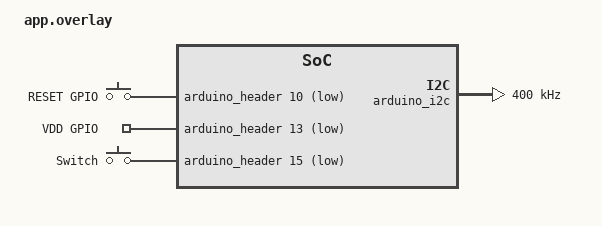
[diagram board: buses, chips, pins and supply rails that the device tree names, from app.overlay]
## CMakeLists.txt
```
#
# Copyright (c) 2024 Infineon Technologies AG
#
# SPDX-License-Identifier: MIT
#

cmake_minimum_required(VERSION 3.20.0)
find_package(Zephyr REQUIRED HINTS $ENV{ZEPHYR_BASE})
project(trust_m_app)

set(OPTIGA_PATH "${CMAKE_CURRENT_SOURCE_DIR}/../optiga-trust-m")
set(OPTIGA_PAL "zephyr")

add_subdirectory("external/optiga-trust-m")

target_sources(app PRIVATE "src/main.c")
```

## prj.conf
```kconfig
# Copyright (c) 2024 Infineon Technologies AG
# SPDX-License-Identifier: MIT

CONFIG_PRINTK=y
CONFIG_HEAP_MEM_POOL_SIZE=512
CONFIG_ASSERT=y
CONFIG_GPIO=y
CONFIG_GPIO_GET_DIRECTION=y
CONFIG_I2C=y
CONFIG_LOG=y
CONFIG_LOG_BACKEND_UART=y
CONFIG_LOG_BUFFER_SIZE=2048
CONFIG_DEBUG_OPTIMIZATIONS=y
CONFIG_FLASH=y
CONFIG_FLASH_PAGE_LAYOUT=y
CONFIG_MPU_ALLOW_FLASH_WRITE=y
```

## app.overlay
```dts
/*
 * Copyright (c) 2024 Infineon Technologies AG
 *
 * SPDX-License-Identifier: MIT
 */

/ {
	aliases {
		optiga-i2c = &arduino_i2c;
        optiga-reset = &reset_gpio;
        optiga-vdd = &vdd_gpio;
        sw1 = &switch;
	};

	optiga_gpios {
        compatible = "gpio-keys";
        reset_gpio: pin_reset {
            gpios = <&arduino_header 10 GPIO_ACTIVE_LOW>; /* D4 */
            label = "RESET GPIO";
        };
        vdd_gpio: pin_vdd {
            gpios = <&arduino_header 13 GPIO_ACTIVE_LOW>; /* D7 */
            label = "VDD GPIO";
        };
        switch: pin_switch {
            gpios = <&arduino_header 15 GPIO_ACTIVE_LOW>;  /* D9 */
            label = "Switch";
        };
    };
};

&arduino_i2c {
	clock-frequency = <I2C_BITRATE_FAST>;
};
```

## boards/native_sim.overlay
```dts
/*
 * Copyright (c) 2024 Infineon Technologies AG
 *
 * SPDX-License-Identifier: MIT
 */

 /*
  * Used as platform for building the application with Clang for static code analysis (e.g. clang-tidy)
  */
/ {
	aliases {
		optiga-i2c = &i2c0;
        optiga-reset = &reset_gpio;
        optiga-vdd = &vdd_gpio;
        sw1 = &switch;
	};

	optiga_gpios {
        compatible = "gpio-keys";
        reset_gpio: pin_reset {
            gpios = <&gpio0 15 GPIO_ACTIVE_LOW>;
            label = "RESET GPIO";
        };
        vdd_gpio: pin_vdd {
            gpios = <&gpio0 18 GPIO_ACTIVE_LOW>;
            label = "VDD GPIO";
        };
        switch: pin_switch {
            gpios = <&gpio0 1 GPIO_ACTIVE_LOW>;
            label = "Switch";
        };
    };
};
```

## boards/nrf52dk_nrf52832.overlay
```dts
/*
 * Copyright (c) 2024 Infineon Technologies AG
 *
 * SPDX-License-Identifier: MIT
 */

 /*
  * Given as example to demonstrate custom device tree overlays and assignment of board-specific GPIO.
  */
/ {
	aliases {
		optiga-i2c = &i2c0;
        optiga-reset = &reset_gpio;
        optiga-vdd = &vdd_gpio;
	};

	optiga_gpios {
        compatible = "gpio-keys";
        reset_gpio: pin_reset {
            gpios = <&gpio0 15 GPIO_ACTIVE_LOW>;
            label = "RESET GPIO";
        };
        vdd_gpio: pin_vdd {
            gpios = <&gpio0 18 GPIO_ACTIVE_LOW>;
            label = "VDD GPIO";
        };
    };
};

&i2c0 {
	clock-frequency = <I2C_BITRATE_FAST>;
};
```

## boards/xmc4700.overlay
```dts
/*
 * Copyright (c) 2024 Infineon Technologies AG
 *
 * SPDX-License-Identifier: MIT
 */

/ {
	aliases {
		optiga-i2c = &arduino_i2c;
        optiga-reset = &reset_gpio;
        optiga-vdd = &vdd_gpio;
        sw1 = &switch;
	};

	optiga_gpios {
        compatible = "gpio-keys";
        reset_gpio: pin_reset {
            gpios = <&arduino_header 10 GPIO_ACTIVE_LOW>; /* D4 */
            label = "RESET GPIO";
        };
        vdd_gpio: pin_vdd {
            gpios = <&arduino_header 13 GPIO_ACTIVE_LOW>; /* D7 */
            label = "VDD GPIO";
        };
        switch: pin_switch {
            gpios = <&arduino_header 15 GPIO_ACTIVE_LOW>;  /* D9 */
            label = "Switch";
        };
    };
};

&arduino_i2c {
	clock-frequency = < 400000 >;
};
```

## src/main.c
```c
/*
 * Copyright (c) 2024 Infineon Technologies AG
 *
 * SPDX-License-Identifier: MIT
 *
 * This file provides the example for using OPTIGA Trust M for:
 *  1) Platform Binding and Shielded Connection
 *  2) Local "data-at-rest" protection for arbitrary data and certificates
 */
#include <zephyr/devicetree.h>
#include <zephyr/kernel.h>
#include <zephyr/drivers/gpio.h>
#include "optiga_example.h"
#include "pal.h"
#include "pal_os_datastore.h"
#include "optiga_crypt.h"
#include "optiga_util.h"
#include "certificate.h"

/*
 * If the OPTIGA Trust M has a pre-configured Platform Binding Secret it needs to be set here:
 */
#define OPTIGA_FIXED_PBS

#ifdef OPTIGA_FIXED_PBS
uint8_t optiga_platform_binding_shared_secret_u[] = {
    0x01, 0x02, 0x03, 0x04, 0x05, 0x06, 0x07, 0x08, 0x09, 0x0A, 0x0B, 0x0C, 0x0D, 0x0E, 0x0F, 0x10,
    0x11, 0x12, 0x13, 0x14, 0x15, 0x16, 0x17, 0x18, 0x19, 0x1A, 0x1B, 0x1C, 0x1D, 0x1E, 0x1F, 0x20,
    0x21, 0x22, 0x23, 0x24, 0x25, 0x26, 0x27, 0x28, 0x29, 0x2A, 0x2B, 0x2C, 0x2D, 0x2E, 0x2F, 0x30,
    0x31, 0x32, 0x33, 0x34, 0x35, 0x36, 0x37, 0x38, 0x39, 0x3A, 0x3B, 0x3C, 0x3D, 0x3E, 0x3F, 0x40};
#endif // OPTIGA_FIXED_PBS

/* size of stack area used by each thread */
#define STACKSIZE (4096)

/* scheduling priority used by each thread */
#define PRIORITY 7

/*
 * Get button configuration from the devicetree sw1 alias. This is mandatory.
 * Button is used to trigger initial platform binding with OPTIGA and write custom data.
 */
#define SW1_NODE DT_ALIAS(sw1)
#if !DT_NODE_HAS_STATUS(SW1_NODE, okay)
#error "Unsupported board: sw1 devicetree alias is not defined"
#endif

static const struct gpio_dt_spec button = GPIO_DT_SPEC_GET_OR(SW1_NODE, gpios, {0});
static struct gpio_callback button_cb_data;

/*
 * External functions which are reused in this example
 */
extern void example_optiga_deinit(void);

/*
 * Local variable definitions
 */
static volatile optiga_lib_status_t optiga_lib_status;
static optiga_crypt_t *me_crypt_instance = NULL;
static optiga_util_t *me_util_instance = NULL;
static bool button_pressed_flag = false;

/*
 * Buffer for reading the stored secret data
 * Format: [ SSID_length (1 byte) | SSID (length byte) | Password_length (1 byte) | Password (length byte) ]
 */
#define SECRET_BUFFER_SIZE (sizeof(optiga_trust_m_ca_300_certificate) + 1)
uint8_t secret_buffer[SECRET_BUFFER_SIZE];

/*
 * Definitions for memory layout on OPTIGA
 */
const uint16_t optiga_data_oid = 0xF1D1;
const uint16_t optiga_cert_oid = 0xE0E8;
const uint16_t optiga_data_offset = 0x00;

/*
 * Callback when OPTIGA library function finishes asynchronously.
 */
static void optiga_crypt_callback(void *context, optiga_lib_status_t return_status)
{
    (void) context;
    optiga_lib_status = return_status;
}

/*
 * Takes the raw data, as read from the OPTIGA, and decodes it for application-specific usage.
 * Example encoding: [ SSID_length (1 byte) | SSID (length byte) | Password_length (1 byte) | Password (length byte) ]
 *
 */
static void print_secret_data(uint8_t *secret_buffer, size_t input_buffer_length)
{
    uint8_t offset = 0;
    char ssid[20] = "";
    char password[20] = "";

    uint8_t length = secret_buffer[offset++];

    if (length + 1 > sizeof(ssid) || length > input_buffer_length)
    {
        printk("Parsing of secret data failed (SSID)\n");
        return;
    }
    memcpy(ssid, &secret_buffer[offset], length);

    offset += length;
    length = secret_buffer[offset++];

    if (length + 1 > sizeof(password) || length + offset > input_buffer_length)
    {
        printk("Parsing of secret data failed (Password)\n");
        return;
    }
    memcpy(password, &secret_buffer[offset], length);

    printk("[optiga example]  : SSID: %s\n", ssid);
    printk("[optiga example]  : Password: %s\n", password);
}

static void print_certificate_data(uint8_t *certificate_buffer, size_t certificate_length)
{
    for (size_t i = 0; i < certificate_length; ++i)
    {
        printk("%02x", certificate_buffer[i]);

        if ((i + 1) % 32 == 0)
        {
            printk("\n");
            k_sleep(K_MSEC(10));
        }
    }
    printk("\n");
}

static optiga_lib_status_t pair_host_and_optiga()
{
    optiga_lib_status_t return_status = !OPTIGA_LIB_SUCCESS;
    pal_status_t pal_return_status;
    uint8_t platform_binding_secret_metadata[44];
    size_t pbs_length = 64;
    uint8_t *pbs_buffer = secret_buffer;

    do
    {
        if (me_util_instance)
        {
            /**
             * Destroy old instance
             */
            optiga_util_destroy(me_util_instance);
        }

        if (me_crypt_instance)
        {
            /**
             * Destroy old instance
             */
            optiga_crypt_destroy(me_crypt_instance);
        }

        /**
         * 1. Create OPTIGA Util and Crypt Instances
         */
        me_util_instance = optiga_util_create(0, optiga_crypt_callback, NULL);
        if (me_util_instance == NULL)
        {
            printk("OPTIGA-Lib not initialized, reset device and try again.\n");
            break;
        }

        me_crypt_instance = optiga_crypt_create(0, optiga_crypt_callback, NULL);
        if (NULL == me_crypt_instance)
        {
            break;
        }
        /**
         * 2. Initialize the protection level and protocol version for the instances
         */
        OPTIGA_UTIL_SET_COMMS_PROTECTION_LEVEL(me_util_instance, OPTIGA_COMMS_NO_PROTECTION);
        OPTIGA_UTIL_SET_COMMS_PROTOCOL_VERSION(me_util_instance, OPTIGA_COMMS_PROTOCOL_VERSION_PRE_SHARED_SECRET);

        /**
         * 3. Read Platform Binding Shared secret (0xE140) data object metadata from OPTIGA
         *    using optiga_util_read_metadata.
         */
        uint16_t bytes_to_read = sizeof(platform_binding_secret_metadata);
        optiga_lib_status = OPTIGA_LIB_BUSY;

        return_status =
            optiga_util_read_metadata(me_util_instance, 0xE140, platform_binding_secret_metadata, &bytes_to_read);

        WAIT_AND_CHECK_STATUS(return_status, optiga_lib_status);

        /**
         * 4. Validate LcsO in the metadata.
         *    Skip the rest of the procedure if LcsO is greater than or equal to operational state(0x07)
         */
        if (platform_binding_secret_metadata[4] >= 0x07)
        {
            /*
             * The LcsO is already greater than or equal to operational state, this is only allowed when a fixed PBS is
             * configured. Write the PBS to the datastore, it will be used by the library to establish the shielded
             * connection.
             */
#ifdef OPTIGA_FIXED_PBS
            pal_return_status =
                pal_os_datastore_write(OPTIGA_PLATFORM_BINDING_SHARED_SECRET_ID, optiga_platform_binding_shared_secret_u,
                                       sizeof(optiga_platform_binding_shared_secret_u));
            return_status = pal_return_status;
#endif
            break;
        }

#ifdef OPTIGA_FIXED_PBS
        /**
         * 5a. Use statically configured PBS value.
         */
        pbs_buffer = optiga_platform_binding_shared_secret_u;
        pbs_length = sizeof(optiga_platform_binding_shared_secret_u);

#else
        /**
         * 5b. Generate Random using optiga_crypt_random
         *       - Specify the Random type as TRNG
         *    a. The maximum supported size of secret is 64 bytes.
         *       The minimum recommended is 32 bytes.
         *    b. If the host platform doesn't support random generation,
         *       use OPTIGA to generate the maximum size chosen.
         *       else choose the appropriate length of random to be generated by OPTIGA
         *
         */
        optiga_lib_status = OPTIGA_LIB_BUSY;
        return_status = optiga_crypt_random(me_crypt_instance, OPTIGA_RNG_TYPE_TRNG, pbs_buffer, pbs_length);
        WAIT_AND_CHECK_STATUS(return_status, optiga_lib_status);
#endif
        /**
         * 6. Generate random on Host
         *    If the host platform doesn't support, skip this step
         */

        /**
         * 7. Write random(secret) to OPTIGA platform Binding shared secret data object (0xE140)
         */
        optiga_lib_status = OPTIGA_LIB_BUSY;
        OPTIGA_UTIL_SET_COMMS_PROTECTION_LEVEL(me_util_instance, OPTIGA_COMMS_NO_PROTECTION);
        return_status =
            optiga_util_write_data(me_util_instance, 0xE140, OPTIGA_UTIL_ERASE_AND_WRITE, 0, pbs_buffer, pbs_length);
        WAIT_AND_CHECK_STATUS(return_status, optiga_lib_status);

        /**
         * 8. Write/store the random(secret) on the Host platform
         *
         */
        pal_return_status = pal_os_datastore_write(OPTIGA_PLATFORM_BINDING_SHARED_SECRET_ID, pbs_buffer, pbs_length);

        if (pal_return_status != PAL_STATUS_SUCCESS)
        {
            // Storing of Pre-shared secret on Host failed.
            optiga_lib_status = pal_return_status;
            break;
        }

        /**
         * 9. Optional: Update metadata of OPTIGA Platform Binding shared secret data object (0xE140) and lifecycle
         * state to seal binding. Not done in demo to prevent unintentional locking of OPTIGA. See
         * example_pair_host_and_optiga_using_pre_shared_secret.c for details
         */

        return_status = OPTIGA_LIB_SUCCESS;

    } while (0);
    return return_status;
}

/*
 * Function to refresh platform binding and write secret data to OPTIGA Trust-M.
 * Do not call this action directly from an ISR (e.g. on button press).
 */
void button_pressed_handler()
{
    const uint8_t default_ssid[] = "TESTSSID";
    const uint8_t default_pwd[] = "TESTPWD";
    const uint8_t timestamp_length = 4;
    size_t offset = 0;
    uint32_t timestamp = k_uptime_get_32();

    optiga_lib_status_t return_status = !OPTIGA_LIB_SUCCESS;
    printk("Button pressed, resetting secret data.\n");

    do
    {
        /*
         * Perform platform binding
         */
        printk("[optiga example]  : Pair host and optiga!\n");
        return_status = pair_host_and_optiga();
        if (return_status != OPTIGA_LIB_SUCCESS)
        {
            printk("Platform binding failed!\n");
            break;
        }

        if (me_util_instance == NULL)
        {
            me_util_instance = optiga_util_create(0, optiga_crypt_callback, NULL);
            if (me_util_instance == NULL)
            {
                printk("OPTIGA-Lib not initialized, reset device and try again.\n");
                break;
            }
        }

        optiga_lib_status = OPTIGA_LIB_BUSY;
        return_status = optiga_util_open_application(me_util_instance, 0);

        WAIT_AND_CHECK_STATUS(return_status, optiga_lib_status);

        /*
         * Prepare demo data in buffer
         */
        uint8_t data_length = (uint8_t) sizeof(default_ssid);
        memcpy(&secret_buffer[offset++], &data_length, 1);
        memcpy(&secret_buffer[offset], default_ssid, sizeof(default_ssid));
        offset += data_length;

        /*
         * Adding random timestamp to default password for demo
         */
        data_length = (uint8_t) (sizeof(default_pwd) + timestamp_length);
        memcpy(&secret_buffer[offset++], &data_length, 1);
        memcpy(&secret_buffer[offset], default_pwd, sizeof(default_pwd) - 1);
        offset += sizeof(default_pwd) - 1;

        for (size_t i = 0; i < timestamp_length; ++i)
        {
            /*
             * Get some 'random' digits out of the timestamp
             */
            secret_buffer[offset++] = '0' + (timestamp & 0b111);
            timestamp = timestamp >> 3;
        }

        secret_buffer[offset++] = '\0';
        data_length = offset;

        /*
         * Enable Shielded Connection
         */
        OPTIGA_UTIL_SET_COMMS_PROTOCOL_VERSION(me_util_instance, OPTIGA_COMMS_PROTOCOL_VERSION_PRE_SHARED_SECRET);
        OPTIGA_UTIL_SET_COMMS_PROTECTION_LEVEL(me_util_instance, OPTIGA_COMMS_FULL_PROTECTION);

        /*
         * Write data to OPTIGA
         */
        optiga_lib_status = OPTIGA_LIB_BUSY;
        return_status = optiga_util_write_data(me_util_instance, optiga_data_oid, OPTIGA_UTIL_ERASE_AND_WRITE,
                                               optiga_data_offset, secret_buffer, data_length);

        if (return_status != PAL_STATUS_SUCCESS)
        {
            printk("Secret data write Failed!\n");
            break;
        }

        WAIT_AND_CHECK_STATUS(return_status, optiga_lib_status);

        /*
         * Write certificate to OPTIGA
         */
        optiga_lib_status = OPTIGA_LIB_BUSY;
        return_status =
            optiga_util_write_data(me_util_instance, optiga_cert_oid, OPTIGA_UTIL_ERASE_AND_WRITE, optiga_data_offset,
                                   optiga_trust_m_ca_300_certificate, sizeof(optiga_trust_m_ca_300_certificate));

        if (return_status != PAL_STATUS_SUCCESS)
        {
            printk("Certificate write Failed! %x\n", return_status);
            break;
        }

        WAIT_AND_CHECK_STATUS(return_status, optiga_lib_status);

        printk("[optiga example]  : Secret data written to OPTIGA:\n");
        print_secret_data(secret_buffer, SECRET_BUFFER_SIZE);
    } while (0);
}

/*
 * GPIO ISR callback for user button.
 */
void button_pressed(const struct device *dev, struct gpio_callback *callback, uint32_t pins)
{
    (void) dev;
    (void) callback;
    (void) pins;

    /*
     * Do not call OPTIGA library functions from ISR context directly. Instead use a worker thread or set flag to notify
     * main thread.
     */
    button_pressed_flag = true;
}

/*
 * Configure the button interrupt for user interaction.
 */
static void initialize_user_button(void)
{
    int ret;

    if (!gpio_is_ready_dt(&button))
    {
        printk("Error: button device %s is not ready\n", button.port->name);
        return;
    }

    ret = gpio_pin_configure_dt(&button, GPIO_INPUT);
    if (ret != 0)
    {
        printk("Error %d: failed to configure %s pin %d\n", ret, button.port->name, button.pin);
        return;
    }

    ret = gpio_pin_interrupt_configure_dt(&button, GPIO_INT_EDGE_TO_ACTIVE);
    if (ret != 0)
    {
        printk("Error %d: failed to configure interrupt on %s pin %d\n", ret, button.port->name, button.pin);
        return;
    }

    gpio_init_callback(&button_cb_data, button_pressed, BIT(button.pin));
    gpio_add_callback(button.port, &button_cb_data);
}

/*
 * Read the stored secret data from OPTIGA and print to console.
 */
static pal_status_t read_optiga_secret_data(optiga_util_t *me_util, const uint16_t optiga_oid, uint8_t *p_secret_buffer,
                                            uint16_t buffer_length)
{
    optiga_lib_status_t return_status = !OPTIGA_LIB_SUCCESS;
    uint16_t bytes_to_read = buffer_length - 1;

    if (me_util == NULL)
    {
        return PAL_STATUS_INVALID_INPUT;
    }

    optiga_lib_status = OPTIGA_LIB_BUSY;

    do
    {
        OPTIGA_UTIL_SET_COMMS_PROTOCOL_VERSION(me_util, OPTIGA_COMMS_PROTOCOL_VERSION_PRE_SHARED_SECRET);
        OPTIGA_UTIL_SET_COMMS_PROTECTION_LEVEL(me_util, OPTIGA_COMMS_FULL_PROTECTION);

        return_status = optiga_util_read_data(me_util, optiga_oid, optiga_data_offset, p_secret_buffer, &bytes_to_read);

        while (optiga_lib_status == OPTIGA_LIB_BUSY)
        {
            k_sleep(K_MSEC(100));
        }

        if (return_status != OPTIGA_LIB_SUCCESS)
        {
            printk("Util_read failed! %d\n", return_status);
            return return_status;
        }

        if (bytes_to_read == 0 || p_secret_buffer[0] == '\0')
        {
            printk("Stored secret data empty!\n");
            return OPTIGA_LIB_SUCCESS;
        }
        p_secret_buffer[bytes_to_read] = '\0';
    } while (0);
    return return_status;
}

/*
 * Main example function to show Shielded Connection and reading of secret data from OPTIGA.
 */
void optiga_example(void)
{
    optiga_lib_status_t return_status;

    printf("Zephyr Optiga Trust M application started \r\n");

    /* Configure the button interrupt for user interaction. */
#ifndef XMC4700_BOARD
    initialize_user_button();
#endif

    do
    {
        return_status = pal_init();
        if (return_status != PAL_STATUS_SUCCESS)
        {
            printk("PAL initialization failed!\r\n");
        }

        /*
         * Create an instance of optiga_util to open the application on OPTIGA.
         */
        me_util_instance = optiga_util_create(0, optiga_crypt_callback, NULL);
        if (NULL == me_util_instance)
        {
            printk("optiga_util_create failed!\r\n");
            break;
        }

        /*
         * Open the application on OPTIGA which is a precondition to perform any other operations
         * using optiga_util_open_application
         */
        optiga_lib_status = OPTIGA_LIB_BUSY;
        return_status = optiga_util_open_application(me_util_instance, 0);

        WAIT_AND_CHECK_STATUS(return_status, optiga_lib_status);

        printk("[optiga example]  : Read certificate data from OPTIGA!\r\n");
        return_status =
            read_optiga_secret_data(me_util_instance, optiga_cert_oid, secret_buffer, sizeof(secret_buffer));

        if (return_status != PAL_STATUS_SUCCESS)
        {
            printk("Example read_secret_data failed!\r\n");
            break;
        }

        print_certificate_data(secret_buffer, sizeof(optiga_trust_m_ca_300_certificate));

        printk("[optiga example]  : Read secret data from OPTIGA!\r\n");
        return_status =
            read_optiga_secret_data(me_util_instance, optiga_data_oid, secret_buffer, sizeof(secret_buffer));

        if (return_status != PAL_STATUS_SUCCESS)
        {
            printk("Example read_secret_data failed!\r\n");
            break;
        }

        print_secret_data(secret_buffer, sizeof(secret_buffer));

        /*
         * Create an instance of optiga_crypt to perform any crypto
         * operation on the OPTIGA device.
         */
        me_crypt_instance = optiga_crypt_create(0, optiga_crypt_callback, NULL);
        if (NULL == me_crypt_instance)
        {
            printk("optiga_util_create failed!\r\n");
            break;
        }

        /*
         * Perform any operation with the OPTIGA device; e.g., get
         * a true random number. random_data_buffer should contain the resulting
         * random number. Enable Shielded Connection if data is used in security relevant context.
         */

        printk("\n[optiga example]  : Retrieve random data over protected connection\n");
        OPTIGA_CRYPT_SET_COMMS_PROTOCOL_VERSION(me_crypt_instance, OPTIGA_COMMS_PROTOCOL_VERSION_PRE_SHARED_SECRET);
        OPTIGA_CRYPT_SET_COMMS_PROTECTION_LEVEL(me_crypt_instance, OPTIGA_COMMS_FULL_PROTECTION);

        optiga_lib_status = OPTIGA_LIB_BUSY;
        return_status = optiga_crypt_random(me_crypt_instance, OPTIGA_RNG_TYPE_TRNG, secret_buffer, 32);

        WAIT_AND_CHECK_STATUS(return_status, optiga_lib_status);

        printk("[optiga example]  : Passed\r\n");

    } while (0);

    if (return_status != PAL_STATUS_SUCCESS)
    {
        printk("[optiga example]  : Examples failed! return_status : %d \r\n", return_status);
    }

#ifdef XMC4700_BOARD
    while (true)
    {
        printk("\nwaiting 5 seconds then store data and perform fresh platform binding!\n");
        pal_os_timer_delay_in_milliseconds(5000);

        button_pressed_handler();
    }
#else

    while (true)
    {
        if (button_pressed_flag)
        {
            button_pressed_handler();
            button_pressed_flag = false;
        }
        k_sleep(K_MSEC(100));
    }

#endif

    /*
     * Close the application on OPTIGA after all the operations are executed
     * using optiga_util_close_application. Not reached in this example, but given as best-practice.
     */
    example_optiga_deinit();
}

// NOLINTBEGIN(misc-misplaced-const)
K_THREAD_DEFINE(optiga_example_id, STACKSIZE, optiga_example, NULL, NULL, NULL, PRIORITY, 0, 1);
// NOLINTEND(misc-misplaced-const)
```

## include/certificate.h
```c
/*
 * Copyright (c) 2024 Infineon Technologies AG
 *
 * SPDX-License-Identifier: MIT
 *
 * This file provides the OPTIGA Trust M CA 300 certificate for use in the example code.
 * Source: "optiga-trust-m/certificates/Infineon OPTIGA(TM) Trust M CA 300.pem"
 */

#ifndef OPTIGA_TRUST_M_EXAMPLE_CERTIFICATE
#define OPTIGA_TRUST_M_EXAMPLE_CERTIFICATE

static const uint8_t optiga_trust_m_ca_300_certificate[] =
{
    0x30, 0x82, 0x02, 0xbd, 0x30, 0x82, 0x02, 0x1f, 0xa0, 0x03, 0x02, 0x01, 0x02, 0x02, 0x04, 0x17,
    0x09, 0x5f, 0xce, 0x30, 0x0a, 0x06, 0x08, 0x2a, 0x86, 0x48, 0xce, 0x3d, 0x04, 0x03, 0x04, 0x30,
    0x79, 0x31, 0x0b, 0x30, 0x09, 0x06, 0x03, 0x55, 0x04, 0x06, 0x13, 0x02, 0x44, 0x45, 0x31, 0x21,
    0x30, 0x1f, 0x06, 0x03, 0x55, 0x04, 0x0a, 0x0c, 0x18, 0x49, 0x6e, 0x66, 0x69, 0x6e, 0x65, 0x6f,
    0x6e, 0x20, 0x54, 0x65, 0x63, 0x68, 0x6e, 0x6f, 0x6c, 0x6f, 0x67, 0x69, 0x65, 0x73, 0x20, 0x41,
    0x47, 0x31, 0x1b, 0x30, 0x19, 0x06, 0x03, 0x55, 0x04, 0x0b, 0x0c, 0x12, 0x4f, 0x50, 0x54, 0x49,
    0x47, 0x41, 0x28, 0x54, 0x4d, 0x29, 0x20, 0x44, 0x65, 0x76, 0x69, 0x63, 0x65, 0x73, 0x31, 0x2a,
    0x30, 0x28, 0x06, 0x03, 0x55, 0x04, 0x03, 0x0c, 0x21, 0x49, 0x6e, 0x66, 0x69, 0x6e, 0x65, 0x6f,
    0x6e, 0x20, 0x4f, 0x50, 0x54, 0x49, 0x47, 0x41, 0x28, 0x54, 0x4d, 0x29, 0x20, 0x45, 0x43, 0x43,
    0x20, 0x52, 0x6f, 0x6f, 0x74, 0x20, 0x43, 0x41, 0x20, 0x32, 0x30, 0x20, 0x17, 0x0d, 0x32, 0x30,
    0x30, 0x38, 0x30, 0x37, 0x30, 0x39, 0x31, 0x38, 0x31, 0x32, 0x5a, 0x18, 0x0f, 0x32, 0x30, 0x35,
    0x30, 0x30, 0x38, 0x30, 0x37, 0x30, 0x39, 0x31, 0x38, 0x31, 0x32, 0x5a, 0x30, 0x72, 0x31, 0x0b,
    0x30, 0x09, 0x06, 0x03, 0x55, 0x04, 0x06, 0x13, 0x02, 0x44, 0x45, 0x31, 0x21, 0x30, 0x1f, 0x06,
    0x03, 0x55, 0x04, 0x0a, 0x0c, 0x18, 0x49, 0x6e, 0x66, 0x69, 0x6e, 0x65, 0x6f, 0x6e, 0x20, 0x54,
    0x65, 0x63, 0x68, 0x6e, 0x6f, 0x6c, 0x6f, 0x67, 0x69, 0x65, 0x73, 0x20, 0x41, 0x47, 0x31, 0x13,
    0x30, 0x11, 0x06, 0x03, 0x55, 0x04, 0x0b, 0x0c, 0x0a, 0x4f, 0x50, 0x54, 0x49, 0x47, 0x41, 0x28,
    0x54, 0x4d, 0x29, 0x31, 0x2b, 0x30, 0x29, 0x06, 0x03, 0x55, 0x04, 0x03, 0x0c, 0x22, 0x49, 0x6e,
    0x66, 0x69, 0x6e, 0x65, 0x6f, 0x6e, 0x20, 0x4f, 0x50, 0x54, 0x49, 0x47, 0x41, 0x28, 0x54, 0x4d,
    0x29, 0x20, 0x54, 0x72, 0x75, 0x73, 0x74, 0x20, 0x4d, 0x20, 0x43, 0x41, 0x20, 0x33, 0x30, 0x30,
    0x30, 0x76, 0x30, 0x10, 0x06, 0x07, 0x2a, 0x86, 0x48, 0xce, 0x3d, 0x02, 0x01, 0x06, 0x05, 0x2b,
    0x81, 0x04, 0x00, 0x22, 0x03, 0x62, 0x00, 0x04, 0x8c, 0x2d, 0x15, 0x68, 0x75, 0xc1, 0x0f, 0x6d,
    0xda, 0x48, 0xd0, 0x7f, 0x15, 0x08, 0xa6, 0x2e, 0x0c, 0x82, 0xca, 0x77, 0xfc, 0x42, 0x85, 0x55,
    0xa4, 0x81, 0x37, 0x8c, 0x59, 0xb4, 0x6e, 0x07, 0x29, 0xe7, 0x19, 0x5a, 0xad, 0x5d, 0x53, 0x69,
    0x6e, 0x36, 0x82, 0x83, 0xaa, 0x36, 0x77, 0x65, 0x04, 0x2e, 0xc5, 0x94, 0x92, 0xd4, 0x45, 0xe6,
    0x89, 0x72, 0x86, 0x8e, 0x83, 0x06, 0x4f, 0xe2, 0x32, 0x69, 0x6e, 0x41, 0x50, 0x8b, 0x0f, 0x49,
    0x4e, 0xca, 0x3e, 0xbd, 0xc2, 0xd4, 0xd8, 0xa4, 0x00, 0xa3, 0xca, 0xbe, 0x4b, 0x3a, 0x48, 0x60,
    0x0f, 0x41, 0xa5, 0x7e, 0x05, 0xb9, 0x8c, 0x0e, 0xa3, 0x7d, 0x30, 0x7b, 0x30, 0x1d, 0x06, 0x03,
    0x55, 0x1d, 0x0e, 0x04, 0x16, 0x04, 0x14, 0xb3, 0x83, 0xe1, 0xac, 0x56, 0x94, 0x06, 0x59, 0xaf,
    0xd8, 0xaf, 0x57, 0x21, 0x78, 0x45, 0x74, 0x8e, 0x0c, 0x49, 0x99, 0x30, 0x0e, 0x06, 0x03, 0x55,
    0x1d, 0x0f, 0x01, 0x01, 0xff, 0x04, 0x04, 0x03, 0x02, 0x00, 0x04, 0x30, 0x12, 0x06, 0x03, 0x55,
    0x1d, 0x13, 0x01, 0x01, 0xff, 0x04, 0x08, 0x30, 0x06, 0x01, 0x01, 0xff, 0x02, 0x01, 0x00, 0x30,
    0x15, 0x06, 0x03, 0x55, 0x1d, 0x20, 0x04, 0x0e, 0x30, 0x0c, 0x30, 0x0a, 0x06, 0x08, 0x2a, 0x82,
    0x14, 0x00, 0x44, 0x01, 0x14, 0x01, 0x30, 0x1f, 0x06, 0x03, 0x55, 0x1d, 0x23, 0x04, 0x18, 0x30,
    0x16, 0x80, 0x14, 0x82, 0xb8, 0x3d, 0xcc, 0x71, 0xb8, 0x3e, 0x7e, 0xf6, 0x9c, 0xd6, 0x1d, 0xc8,
    0x4d, 0x52, 0x32, 0x70, 0x6c, 0xc7, 0x9d, 0x30, 0x0a, 0x06, 0x08, 0x2a, 0x86, 0x48, 0xce, 0x3d,
    0x04, 0x03, 0x04, 0x03, 0x81, 0x8b, 0x00, 0x30, 0x81, 0x87, 0x02, 0x41, 0x2a, 0xec, 0x2e, 0x48,
    0x9c, 0xd7, 0x83, 0x8b, 0x8b, 0x86, 0xdb, 0xf9, 0xe8, 0x9c, 0x97, 0x89, 0xf7, 0x4a, 0x1e, 0x64,
    0xc9, 0x83, 0xdd, 0xd3, 0xc9, 0x8b, 0x07, 0x50, 0x22, 0x42, 0x19, 0x6c, 0xaa, 0x02, 0xdb, 0x00,
    0x45, 0xff, 0x4f, 0x6c, 0x18, 0xcb, 0x3d, 0xbf, 0x90, 0xd5, 0x72, 0x9b, 0xa3, 0x6a, 0xdc, 0x8d,
    0xcb, 0x7c, 0xbe, 0x6e, 0xeb, 0x76, 0x8c, 0xe7, 0xb0, 0xc0, 0xde, 0x50, 0xed, 0x02, 0x42, 0x00,
    0x8f, 0xcc, 0xe5, 0x18, 0xfc, 0xc1, 0xbe, 0x7f, 0xf4, 0xc9, 0x6a, 0x97, 0x92, 0x57, 0xb8, 0xef,
    0x0a, 0xfb, 0x5d, 0x08, 0xe6, 0x52, 0x2e, 0x66, 0x55, 0x46, 0x68, 0x1e, 0x52, 0x45, 0x03, 0x09,
    0x61, 0xf9, 0xd1, 0x55, 0xe7, 0xfc, 0x02, 0x07, 0x58, 0xa6, 0xed, 0xbe, 0x47, 0xeb, 0xfa, 0x9d,
    0xab, 0x67, 0x0c, 0x54, 0x9f, 0x06, 0xc8, 0x0d, 0x96, 0xaf, 0x6f, 0x2d, 0x76, 0x54, 0xee, 0xf6,
    0x59
};

#endif // OPTIGA_TRUST_M_EXAMPLE_CERTIFICATE
```
